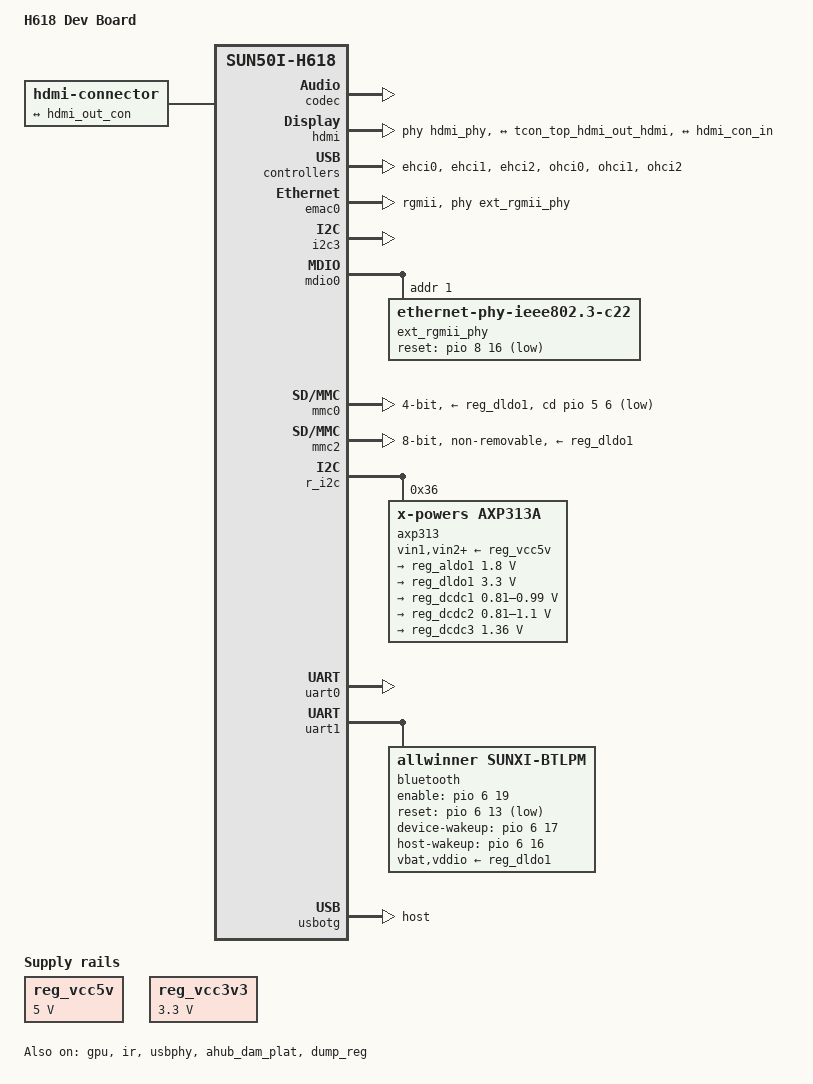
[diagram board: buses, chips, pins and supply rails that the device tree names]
// SPDX-License-Identifier: (GPL-2.0+ OR MIT)
/*
 * Device tree for H618 Dev Board.
 */

/dts-v1/;

#include "sun50i-h616.dtsi"
#include "sun50i-h616-cpu-opp.dtsi"
#include <dt-bindings/gpio/gpio.h>
#include <dt-bindings/interrupt-controller/arm-gic.h>

/ {
	model = "H618 Dev Board";
	compatible = "allwinner,devboard", "allwinner,sun50i-h618";

	aliases {
		ethernet0 = &emac0;
		serial0 = &uart0;
	};

	chosen {
		stdout-path = "serial0:115200n8";
	};

	reserved-memory {
		/* Override secmon size to 512 KiB as required by board firmware */
		secmon@40000000 {
			reg = <0x0 0x40000000 0x0 0x80000>;
		};
	};

	de: display-engine {
		compatible = "allwinner,sun50i-h6-display-engine";
		allwinner,pipelines = <&mixer0>;
		status = "okay";
	};

	connector {
		compatible = "hdmi-connector";
		type = "a";

		port {
			hdmi_con_in: endpoint {
				remote-endpoint = <&hdmi_out_con>;
			};
		};
	};

	gpu_opp_table: gpu-opp-table {
		compatible = "operating-points-v2";

		opp-125000000 {
			opp-hz = /bits/ 64 <125000000>;
			opp-microvolt = <860000>;
		};

		opp-250000000 {
			opp-hz = /bits/ 64 <250000000>;
			opp-microvolt = <860000>;
		};

		opp-432000000 {
			opp-hz = /bits/ 64 <432000000>;
			opp-microvolt = <912000>;
		};

		opp-600000000 {
			opp-hz = /bits/ 64 <600000000>;
			opp-microvolt = <960000>;
		};

		opp-800000000 {
			opp-hz = /bits/ 64 <800000000>;
			opp-microvolt = <1080000>;
		};
	};

	reg_vcc5v: vcc5v {
		compatible = "regulator-fixed";
		regulator-name = "vcc-5v";
		regulator-min-microvolt = <5000000>;
		regulator-max-microvolt = <5000000>;
		regulator-always-on;
	};

	reg_vcc3v3: vcc3v3 {
		compatible = "regulator-fixed";
		regulator-name = "vcc-3v3";
		regulator-min-microvolt = <3300000>;
		regulator-max-microvolt = <3300000>;
		regulator-always-on;
	};
};

/* BSP-specific soc nodes (display, audio, HDMI, GPU, etc.) */
/ {
	soc {
		bus@1000000 {
			compatible = "allwinner,sun50i-h616-de33",
				     "allwinner,sun50i-a64-de2";
			reg = <0x1000000 0x400000>;
			allwinner,sram = <&de3_sram 1>;
			#address-cells = <1>;
			#size-cells = <1>;
			ranges = <0x0 0x1000000 0x400000>;

			display_clocks: clock@8000 {
				compatible = "allwinner,sun50i-h616-de33-clk";
				reg = <0x8000 0x100>;
				clocks = <&ccu 29>, <&ccu 30>;
				clock-names = "mod", "bus";
				resets = <&ccu 1>;
				#clock-cells = <1>;
				#reset-cells = <1>;
			};

			mixer0: mixer@100000 {
				compatible = "allwinner,sun50i-h616-de33-mixer-0";
				reg = <0x100000 0x100000>,
				      <0x8100 0x40>,
				      <0x280000 0x20000>;
				clocks = <&display_clocks 0>, <&display_clocks 6>;
				clock-names = "bus", "mod";
				resets = <&display_clocks 0>;
				iommus = <&iommu 0>;

				ports {
					#address-cells = <1>;
					#size-cells = <0>;

					mixer0_out: port@1 {
						reg = <1>;

						mixer0_out_tcon_top_mixer0: endpoint {
							remote-endpoint = <&tcon_top_mixer0_in_mixer0>;
						};
					};
				};
			};
		};

		codec: codec@05096000 {
			#sound-dai-cells = <0>;
			compatible = "allwinner,sun50i-h616-codec";
			reg = <0x5096000 0x31c>;
			interrupts = <GIC_SPI 58 IRQ_TYPE_LEVEL_HIGH>;
			clocks = <&ccu 93>, <&ccu 91>, <&ccu 92>;
			clock-names = "apb", "audio-codec-1x", "audio-codec-4x";
			resets = <&ccu 36>;
			dmas = <&dma 6>;
			dma-names = "tx";
			status = "okay";
			allwinner,audio-routing = "Line Out", "LINEOUT";
		};

		ahub_dam_plat: ahub_dam_plat@5097000 {
			#sound-dai-cells = <0>;
			compatible = "allwinner,sunxi-snd-plat-ahub_dam";
			reg = <0x5097000 0x1000>;
			resets = <&ccu 37>;
			clocks = <&ccu 91>, <&ccu 92>,
				 <&ccu 94>, <&ccu 95>;
			clock-names = "clk_pll_audio", "clk_pll_audio_4x",
				      "clk_audio_hub", "clk_bus_audio_hub";
			status = "okay";
		};

		ahub_dam_mach {
			compatible = "allwinner,sunxi-snd-mach";
			soundcard-mach,name = "ahubdam";
			status = "okay";

			soundcard-mach,cpu {
				sound-dai = <&ahub_dam_plat>;
			};

			soundcard-mach,codec {
			};
		};

		ahub1_plat: ahub1_plat {
			#sound-dai-cells = <0>;
			compatible = "allwinner,sunxi-snd-plat-ahub";
			apb_num = <1>;
			dmas = <&dma 4>, <&dma 4>;
			dma-names = "tx", "rx";
			playback_cma = <128>;
			capture_cma = <128>;
			tx_fifo_size = <128>;
			rx_fifo_size = <128>;
			tdm_num = <1>;
			tx_pin = <0>;
			rx_pin = <0>;
			status = "okay";
		};

		ahub1_mach {
			compatible = "allwinner,sunxi-snd-mach";
			soundcard-mach,name = "HDMI";
			soundcard-mach,format = "i2s";
			soundcard-mach,frame-master = <&ahub1_cpu>;
			soundcard-mach,bitclock-master = <&ahub1_cpu>;
			soundcard-mach,slot-num = <2>;
			soundcard-mach,slot-width = <32>;
			status = "okay";

			ahub1_cpu: soundcard-mach,cpu {
				sound-dai = <&ahub1_plat>;
				soundcard-mach,pll-fs = <4>;
				soundcard-mach,mclk-fs = <0>;
			};

			ahub1_codec: soundcard-mach,codec {
				sound-dai = <&hdmi>;
			};
		};

		hdmi: hdmi@6000000 {
			#sound-dai-cells = <0>;
			compatible = "allwinner,sun50i-h616-dw-hdmi",
				     "allwinner,sun50i-h6-dw-hdmi";
			reg = <0x6000000 0x10000>;
			reg-io-width = <1>;
			interrupts = <GIC_SPI 63 IRQ_TYPE_LEVEL_HIGH>;
			clocks = <&ccu 117>, <&ccu 115>,
				 <&ccu 114>, <&ccu 116>,
				 <&ccu 126>, <&ccu 127>;
			clock-names = "iahb", "isfr", "tmds",
				      "cec", "hdcp", "hdcp-bus";
			resets = <&ccu 51>, <&ccu 58>;
			reset-names = "ctrl", "hdcp";
			phys = <&hdmi_phy>;
			phy-names = "phy";
			status = "okay";

			ports {
				#address-cells = <1>;
				#size-cells = <0>;

				hdmi_in: port@0 {
					reg = <0>;

					hdmi_in_tcon_top: endpoint {
						remote-endpoint = <&tcon_top_hdmi_out_hdmi>;
					};
				};

				hdmi_out: port@1 {
					reg = <1>;

					hdmi_out_con: endpoint {
						remote-endpoint = <&hdmi_con_in>;
					};
				};
			};
		};

		hdmi_phy: hdmi-phy@6010000 {
			compatible = "allwinner,sun50i-h616-hdmi-phy";
			reg = <0x6010000 0x10000>;
			clocks = <&ccu 117>, <&ccu 115>;
			clock-names = "bus", "mod";
			resets = <&ccu 52>;
			reset-names = "phy";
			#phy-cells = <0>;
		};

		tcon_top: tcon-top@6510000 {
			compatible = "allwinner,sun50i-h6-tcon-top";
			reg = <0x6510000 0x1000>;
			clocks = <&ccu 118>, <&ccu 119>;
			clock-names = "bus", "tcon-tv0";
			clock-output-names = "tcon-top-tv0";
			resets = <&ccu 53>;
			#clock-cells = <1>;

			ports {
				#address-cells = <1>;
				#size-cells = <0>;

				tcon_top_mixer0_in: port@0 {
					#address-cells = <1>;
					#size-cells = <0>;
					reg = <0>;

					tcon_top_mixer0_in_mixer0: endpoint@0 {
						reg = <0>;
						remote-endpoint = <&mixer0_out_tcon_top_mixer0>;
					};
				};

				tcon_top_mixer0_out: port@1 {
					#address-cells = <1>;
					#size-cells = <0>;
					reg = <1>;

					tcon_top_mixer0_out_tcon_tv: endpoint@2 {
						reg = <2>;
						remote-endpoint = <&tcon_tv_in_tcon_top_mixer0>;
					};
				};

				tcon_top_hdmi_in: port@4 {
					#address-cells = <1>;
					#size-cells = <0>;
					reg = <4>;

					tcon_top_hdmi_in_tcon_tv: endpoint@0 {
						reg = <0>;
						remote-endpoint = <&tcon_tv_out_tcon_top>;
					};
				};

				tcon_top_hdmi_out: port@5 {
					reg = <5>;

					tcon_top_hdmi_out_hdmi: endpoint {
						remote-endpoint = <&hdmi_in_tcon_top>;
					};
				};
			};
		};

		tcon_tv: lcd-controller@6515000 {
			compatible = "allwinner,sun50i-h6-tcon-tv",
				     "allwinner,sun8i-r40-tcon-tv";
			reg = <0x6515000 0x1000>;
			interrupts = <GIC_SPI 66 IRQ_TYPE_LEVEL_HIGH>;
			clocks = <&ccu 121>, <&tcon_top 0>;
			clock-names = "ahb", "tcon-ch1";
			resets = <&ccu 54>;
			reset-names = "lcd";

			ports {
				#address-cells = <1>;
				#size-cells = <0>;

				tcon_tv_in: port@0 {
					reg = <0>;

					tcon_tv_in_tcon_top_mixer0: endpoint {
						remote-endpoint = <&tcon_top_mixer0_out_tcon_tv>;
					};
				};

				tcon_tv_out: port@1 {
					#address-cells = <1>;
					#size-cells = <0>;
					reg = <1>;

					tcon_tv_out_tcon_top: endpoint@1 {
						reg = <1>;
						remote-endpoint = <&tcon_top_hdmi_in_tcon_tv>;
					};
				};
			};
		};

		emac1: ethernet@5030000 {
			compatible = "allwinner,sun50i-h616-emac0",
				     "allwinner,sun50i-a64-emac";
			reg = <0x5030000 0x10000>;
			interrupts = <GIC_SPI 15 IRQ_TYPE_LEVEL_HIGH>;
			resets = <&ccu 31>;
			reset-names = "stmmaceth";
			clocks = <&ccu 83>;
			clock-names = "stmmaceth";
			syscon = <&syscon 1>;
			status = "disabled";

			mdio1: mdio {
				compatible = "snps,dwmac-mdio";
				#address-cells = <1>;
				#size-cells = <0>;
				status = "disabled";
			};
		};

		video-codec@1c0e000 {
			compatible = "allwinner,sun50i-h616-video-engine";
			reg = <0x1c0e000 0x2000>;
			clocks = <&ccu 41>, <&ccu 40>, <&ccu 51>;
			clock-names = "ahb", "mod", "ram";
			resets = <&ccu 5>;
			interrupts = <GIC_SPI 93 IRQ_TYPE_LEVEL_HIGH>;
			allwinner,sram = <&ve_sram 1>;
			iommus = <&iommu 2>, <&iommu 3>;
		};

		sunxi-info {
			compatible = "allwinner,sun50i-h6-sys-info";
			status = "okay";
		};

		addr_mgt: addr-mgt {
			compatible = "allwinner,sunxi-addr_mgt";
			type_addr_wifi = <2>;
			type_addr_bt = <2>;
			type_addr_eth = <2>;
			status = "okay";
		};

		dump_reg: dump_reg@20000 {
			compatible = "allwinner,sunxi-dump-reg";
			reg = <0x0 0x3001000 0x0 0xf20>;
			status = "okay";
		};
	};
};

/* Add sram children to syscon */
&syscon {
	sram_a2: sram@100000 {
		compatible = "mmio-sram";
		reg = <0x100000 0x18000>;
		#address-cells = <1>;
		#size-cells = <1>;
		ranges = <0 0x100000 0x18000>;

		scpi_sram: scpi-sram@17c00 {
			compatible = "arm,scp-shmem";
			reg = <0x17c00 0x200>;
		};
	};

	sram_c1: sram@1a00000 {
		compatible = "mmio-sram";
		reg = <0x1a00000 0x200000>;
		#address-cells = <1>;
		#size-cells = <1>;
		ranges = <0 0x1a00000 0x200000>;

		ve_sram: sram-section@0 {
			compatible = "allwinner,sun50i-h616-sram-c1";
			reg = <0x0 0x200000>;
		};
	};
};

&gpu {
	mali-supply = <&reg_dcdc1>;
	operating-points-v2 = <&gpu_opp_table>;
	#cooling-cells = <2>;
	status = "okay";
};

/* Add sram-section to existing sram_c */
&sram_c {
	de3_sram: sram-section@0 {
		compatible = "allwinner,sun50i-h616-sram-c",
			     "allwinner,sun50i-a64-sram-c";
		reg = <0x0 0x1e000>;
	};
};

&cpu0 {
	cpu-supply = <&reg_dcdc2>;
	clock-latency-ns = <244000>;
};

&cpu1 {
	clock-latency-ns = <244000>;
};

&cpu2 {
	clock-latency-ns = <244000>;
};

&cpu3 {
	clock-latency-ns = <244000>;
};

&ehci0 {
	status = "okay";
};

&ehci1 {
	status = "okay";
};

&ehci2 {
	status = "okay";
};

&emac0 {
	pinctrl-names = "default";
	pinctrl-0 = <&ext_rgmii_pins>;
	phy-mode = "rgmii";
	phy-handle = <&ext_rgmii_phy>;
	phy-io-supply = <&reg_aldo1>;
	allwinner,rx-delay-ps = <3100>;
	allwinner,tx-delay-ps = <700>;
	status = "okay";
};

/* Board uses PI0-PI15 (including PI6, excluding PI16) for RGMII */
&ext_rgmii_pins {
	pins = "PI0", "PI1", "PI2", "PI3", "PI4", "PI5", "PI6",
	       "PI7", "PI8", "PI9", "PI10", "PI11", "PI12",
	       "PI13", "PI14", "PI15";
	drive-strength = <40>;
};

&i2c3 {
	status = "okay";
};

&ir {
	status = "okay";
};

&mdio0 {
	ext_rgmii_phy: ethernet-phy@1 {
		compatible = "ethernet-phy-ieee802.3-c22";
		reg = <1>;
		reset-gpios = <&pio 8 16 1>;
		reset-assert-us = <30000>;
		reset-deassert-us = <150000>;
	};
};

&mmc0 {
	vmmc-supply = <&reg_dldo1>;
	cd-gpios = <&pio 5 6 (GPIO_ACTIVE_LOW | GPIO_PULL_DOWN)>;	/* PF6 */
	bus-width = <4>;
	status = "okay";
};

&mmc2 {
	vmmc-supply = <&reg_dldo1>;
	vqmmc-supply = <&reg_aldo1>;
	bus-width = <8>;
	non-removable;
	cap-mmc-hw-reset;
	mmc-ddr-1_8v;
	mmc-hs200-1_8v;
	status = "okay";
};

&ohci0 {
	status = "okay";
};

&ohci1 {
	status = "okay";
};

&ohci2 {
	status = "okay";
};

&pio {
	vcc-pc-supply = <&reg_aldo1>;
	vcc-pg-supply = <&reg_dldo1>;
	vcc-ph-supply = <&reg_dldo1>;
	vcc-pi-supply = <&reg_dldo1>;

	rmii_pins: rmii-pins {
		pins = "PA0", "PA1", "PA2", "PA3", "PA4",
		       "PA5", "PA6", "PA7", "PA8", "PA9";
		function = "emac1";
		drive-strength = <40>;
	};
};

&r_i2c {
	status = "okay";

	axp313: pmic@36 {
		compatible = "x-powers,axp313a";
		reg = <0x36>;
		#interrupt-cells = <1>;
		interrupt-controller;

		vin1-supply = <&reg_vcc5v>;
		vin2-supply = <&reg_vcc5v>;
		vin3-supply = <&reg_vcc5v>;

		regulators {
			reg_aldo1: aldo1 {
				regulator-always-on;
				regulator-min-microvolt = <1800000>;
				regulator-max-microvolt = <1800000>;
				regulator-name = "vcc-1v8-pll";
			};

			reg_dldo1: dldo1 {
				regulator-always-on;
				regulator-min-microvolt = <3300000>;
				regulator-max-microvolt = <3300000>;
				regulator-name = "vcc-3v3-io-mmc";
			};

			reg_dcdc1: dcdc1 {
				regulator-always-on;
				regulator-min-microvolt = <810000>;
				regulator-max-microvolt = <990000>;
				regulator-name = "vdd-gpu-sys";
			};

			reg_dcdc2: dcdc2 {
				regulator-always-on;
				regulator-min-microvolt = <810000>;
				regulator-max-microvolt = <1100000>;
				regulator-name = "vdd-cpu";
			};

			reg_dcdc3: dcdc3 {
				regulator-always-on;
				regulator-min-microvolt = <1360000>;
				regulator-max-microvolt = <1360000>;
				regulator-name = "vdd-dram";
			};
		};
	};
};

&uart0 {
	pinctrl-names = "default";
	pinctrl-0 = <&uart0_ph_pins>;
	status = "okay";
};

&uart1 {
	pinctrl-names = "default";
	pinctrl-0 = <&uart1_pins>, <&uart1_rts_cts_pins>;
	uart-has-rtscts;
	status = "okay";

	bluetooth {
		compatible = "allwinner,sunxi-btlpm";
		clocks = <&rtc 1>;
		clock-names = "lpo";
		vbat-supply = <&reg_dldo1>;
		vddio-supply = <&reg_dldo1>;
		enable-gpios = <&pio 6 19 GPIO_ACTIVE_HIGH>;	/* PG19 */
		reset-gpios  = <&pio 6 13 GPIO_ACTIVE_LOW>;	/* PG13 */
		device-wakeup-gpios = <&pio 6 17 GPIO_ACTIVE_HIGH>; /* PG17 */
		host-wakeup-gpios   = <&pio 6 16 GPIO_ACTIVE_HIGH>; /* PG16 */
	};
};

&usbotg {
	dr_mode = "host";
	status = "okay";
};

&usbphy {
	status = "okay";
};
